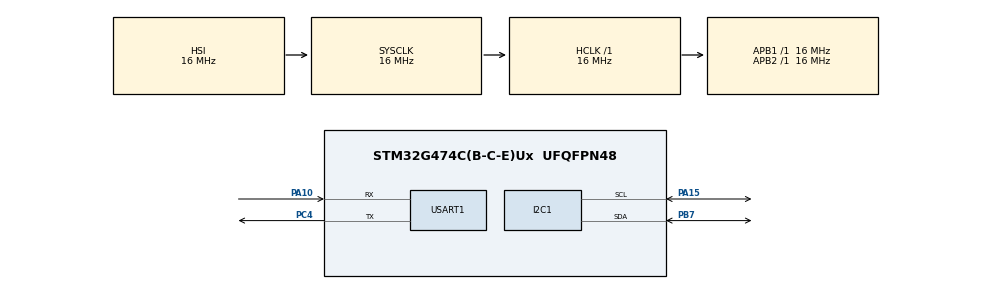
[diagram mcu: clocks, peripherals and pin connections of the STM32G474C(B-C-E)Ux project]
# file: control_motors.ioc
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I2C1.Timing=0x00503D58
Mcu.Family=STM32G4
Mcu.Name=STM32G474C(B-C-E)Ux
Mcu.Package=UFQFPN48
NVIC.I2C1_ER_IRQn=true\:0\:0\:false\:false\:true\:true\:true\:true
NVIC.I2C1_EV_IRQn=true\:0\:0\:false\:false\:true\:true\:true\:true
NVIC.PriorityGroup=NVIC_PRIORITYGROUP_4
NVIC.USART1_IRQn=true\:0\:0\:false\:false\:true\:true\:true\:true
PA10.Mode=Asynchronous
PA10.Signal=USART1_RX
PA15.Mode=I2C
PA15.Signal=I2C1_SCL
PB7.Mode=I2C
PB7.Signal=I2C1_SDA
PC4.Mode=Asynchronous
PC4.Signal=USART1_TX
ProjectManager.HeapSize=0x200
ProjectManager.StackSize=0x400
ProjectManager.TargetToolchain=STM32CubeIDE
RCC.AHBFreq_Value=16000000
RCC.APB1Freq_Value=16000000
RCC.APB1TimFreq_Value=16000000
RCC.APB2Freq_Value=16000000
RCC.APB2TimFreq_Value=16000000
RCC.CortexFreq_Value=16000000
RCC.EXTERNAL_CLOCK_VALUE=12288000
RCC.HCLKFreq_Value=16000000
RCC.HSE_VALUE=8000000
RCC.HSI48_VALUE=48000000
RCC.HSI_VALUE=16000000
RCC.LSE_VALUE=32768
RCC.SYSCLKFreq_VALUE=16000000
RCC.USBFreq_Value=64000000
RCC.VCOOutputFreq_Value=128000000
USART1.VirtualMode-Asynchronous=VM_ASYNC
VP_SYS_VS_DBSignals.Mode=DisableDeadBatterySignals
board=custom

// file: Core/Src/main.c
/* USER CODE BEGIN Header */
/**
  ******************************************************************************
  * @file           : main.c
  * @brief          : Main program body
  ******************************************************************************
  * @attention
  *
  * Copyright (c) 2026 STMicroelectronics.
  * All rights reserved.
  *
  * This software is licensed under terms that can be found in the LICENSE file
  * in the root directory of this software component.
  * If no LICENSE file comes with this software, it is provided AS-IS.
  *
  ******************************************************************************
  */
/* USER CODE END Header */
#include "main.h"

/* USER CODE BEGIN Includes */
#include "motor_i2c.h"
#include "uart_commands.h"
#include <stdio.h>

/* USER CODE END Includes */

I2C_HandleTypeDef hi2c1;

UART_HandleTypeDef huart1;

/* USER CODE BEGIN PV */
static volatile HAL_StatusTypeDef last_motor_status = HAL_OK;
static volatile UartCommandType last_uart_command = UART_COMMAND_TYPE_NONE;
static volatile int16_t last_uart_value = 0;
static volatile uint32_t last_motor_error = 0U;

/* USER CODE END PV */

void SystemClock_Config(void);
static void MX_GPIO_Init(void);
static void MX_I2C1_Init(void);
static void MX_USART1_UART_Init(void);
/* USER CODE BEGIN PFP */
static void HandleUartCommand(const UartCommand *command);
static void UART_SendText(const char *text);
static void UART_SendMotorStatus(const char *command_name, HAL_StatusTypeDef status);

/* USER CODE END PFP */

/* USER CODE BEGIN 0 */
static void UART_SendText(const char *text)
{
  uint16_t len = 0U;

  while (text[len] != '\0')
  {
    len++;
  }

  (void)HAL_UART_Transmit(&huart1, (const uint8_t *)text, len, 50U);
}

static void UART_SendMotorStatus(const char *command_name, HAL_StatusTypeDef status)
{
  char text[40];

  if (status == HAL_OK)
  {
    (void)snprintf(text, sizeof(text), "OK %s\r\n", command_name);
  }
  else
  {
    (void)snprintf(text,
                   sizeof(text),
                   "ERR %s st=%u i2c=0x%08lX\r\n",
                   command_name,
                   (unsigned int)status,
                   (unsigned long)HAL_I2C_GetError(&hi2c1));
  }

  UART_SendText(text);
}

static void HandleUartCommand(const UartCommand *command)
{
  HAL_StatusTypeDef status = HAL_OK;

  switch (command->type)
  {
    case UART_COMMAND_TYPE_PWM:
      status = Motor_SetPwm(&hi2c1, command->value);
      UART_SendMotorStatus("pwm", status);
      break;

    case UART_COMMAND_TYPE_RPM:
      status = Motor_SetRpm(&hi2c1, command->value);
      UART_SendMotorStatus("rpm", status);
      break;

    case UART_COMMAND_TYPE_INVALID:
      status = HAL_ERROR;
      UART_SendText("ERR cmd\r\n");
      break;

    default:
      break;
  }

  last_motor_status = status;
  last_uart_command = command->type;
  last_uart_value = command->value;
  last_motor_error = HAL_I2C_GetError(&hi2c1);
}

/* USER CODE END 0 */

int main(void)
{

  /* MCU Configuration--------------------------------------------------------*/

  /* Reset of all peripherals, Initializes the Flash interface and the Systick. */
  HAL_Init();

  /* Configure the system clock */
  SystemClock_Config();

  /* Initialize all configured peripherals */
  MX_GPIO_Init();
  MX_I2C1_Init();
  MX_USART1_UART_Init();
  /* USER CODE BEGIN 2 */
  (void)UartCommands_Start(&huart1);
  Motor_Config(&hi2c1);

  /* USER CODE END 2 */

  /* Infinite loop */
  /* USER CODE BEGIN WHILE */
  while (1)
  {
    UartCommand command;

    if (UartCommands_Pop(&command) != 0U)
    {
      HandleUartCommand(&command);
    }

    /* USER CODE END WHILE */

  }
}

void SystemClock_Config(void)
{
  RCC_OscInitTypeDef RCC_OscInitStruct = {0};
  RCC_ClkInitTypeDef RCC_ClkInitStruct = {0};

  /** Configure the main internal regulator output voltage
  */
  HAL_PWREx_ControlVoltageScaling(PWR_REGULATOR_VOLTAGE_SCALE1);

  /** Initializes the RCC Oscillators according to the specified parameters
  * in the RCC_OscInitTypeDef structure.
  */
  RCC_OscInitStruct.OscillatorType = RCC_OSCILLATORTYPE_HSI;
  RCC_OscInitStruct.HSIState = RCC_HSI_ON;
  RCC_OscInitStruct.HSICalibrationValue = RCC_HSICALIBRATION_DEFAULT;
  RCC_OscInitStruct.PLL.PLLState = RCC_PLL_NONE;
  if (HAL_RCC_OscConfig(&RCC_OscInitStruct) != HAL_OK)
  {
    Error_Handler();
  }

  /** Initializes the CPU, AHB and APB buses clocks
  */
  RCC_ClkInitStruct.ClockType = RCC_CLOCKTYPE_HCLK|RCC_CLOCKTYPE_SYSCLK
                              |RCC_CLOCKTYPE_PCLK1|RCC_CLOCKTYPE_PCLK2;
  RCC_ClkInitStruct.SYSCLKSource = RCC_SYSCLKSOURCE_HSI;
  RCC_ClkInitStruct.AHBCLKDivider = RCC_SYSCLK_DIV1;
  RCC_ClkInitStruct.APB1CLKDivider = RCC_HCLK_DIV1;
  RCC_ClkInitStruct.APB2CLKDivider = RCC_HCLK_DIV1;

  if (HAL_RCC_ClockConfig(&RCC_ClkInitStruct, FLASH_LATENCY_0) != HAL_OK)
  {
    Error_Handler();
  }
}

static void MX_I2C1_Init(void)
{

  hi2c1.Instance = I2C1;
  hi2c1.Init.Timing = 0x00503D58;
  hi2c1.Init.OwnAddress1 = 0;
  hi2c1.Init.AddressingMode = I2C_ADDRESSINGMODE_7BIT;
  hi2c1.Init.DualAddressMode = I2C_DUALADDRESS_DISABLE;
  hi2c1.Init.OwnAddress2 = 0;
  hi2c1.Init.OwnAddress2Masks = I2C_OA2_NOMASK;
  hi2c1.Init.GeneralCallMode = I2C_GENERALCALL_DISABLE;
  hi2c1.Init.NoStretchMode = I2C_NOSTRETCH_DISABLE;
  if (HAL_I2C_Init(&hi2c1) != HAL_OK)
  {
    Error_Handler();
  }

  /** Configure Analogue filter
  */
  if (HAL_I2CEx_ConfigAnalogFilter(&hi2c1, I2C_ANALOGFILTER_ENABLE) != HAL_OK)
  {
    Error_Handler();
  }

  /** Configure Digital filter
  */
  if (HAL_I2CEx_ConfigDigitalFilter(&hi2c1, 0) != HAL_OK)
  {
    Error_Handler();
  }

}

static void MX_USART1_UART_Init(void)
{

  huart1.Instance = USART1;
  huart1.Init.BaudRate = 115200;
  huart1.Init.WordLength = UART_WORDLENGTH_8B;
  huart1.Init.StopBits = UART_STOPBITS_1;
  huart1.Init.Parity = UART_PARITY_NONE;
  huart1.Init.Mode = UART_MODE_TX_RX;
  huart1.Init.HwFlowCtl = UART_HWCONTROL_NONE;
  huart1.Init.OverSampling = UART_OVERSAMPLING_16;
  huart1.Init.OneBitSampling = UART_ONE_BIT_SAMPLE_DISABLE;
  huart1.Init.ClockPrescaler = UART_PRESCALER_DIV1;
  huart1.AdvancedInit.AdvFeatureInit = UART_ADVFEATURE_NO_INIT;
  if (HAL_UART_Init(&huart1) != HAL_OK)
  {
    Error_Handler();
  }
  if (HAL_UARTEx_SetTxFifoThreshold(&huart1, UART_TXFIFO_THRESHOLD_1_8) != HAL_OK)
  {
    Error_Handler();
  }
  if (HAL_UARTEx_SetRxFifoThreshold(&huart1, UART_RXFIFO_THRESHOLD_1_8) != HAL_OK)
  {
    Error_Handler();
  }
  if (HAL_UARTEx_DisableFifoMode(&huart1) != HAL_OK)
  {
    Error_Handler();
  }

}

static void MX_GPIO_Init(void)
{

  /* GPIO Ports Clock Enable */
  __HAL_RCC_GPIOC_CLK_ENABLE();
  __HAL_RCC_GPIOA_CLK_ENABLE();
  __HAL_RCC_GPIOB_CLK_ENABLE();

}

/* USER CODE BEGIN 4 */
void HAL_UART_RxCpltCallback(UART_HandleTypeDef *huart)
{
  UartCommands_RxCpltCallback(huart);
}

void HAL_UART_ErrorCallback(UART_HandleTypeDef *huart)
{
  UartCommands_ErrorCallback(huart);
}

/* USER CODE END 4 */

void Error_Handler(void)
{
  __disable_irq();
  while (1)
  {
  }
}
